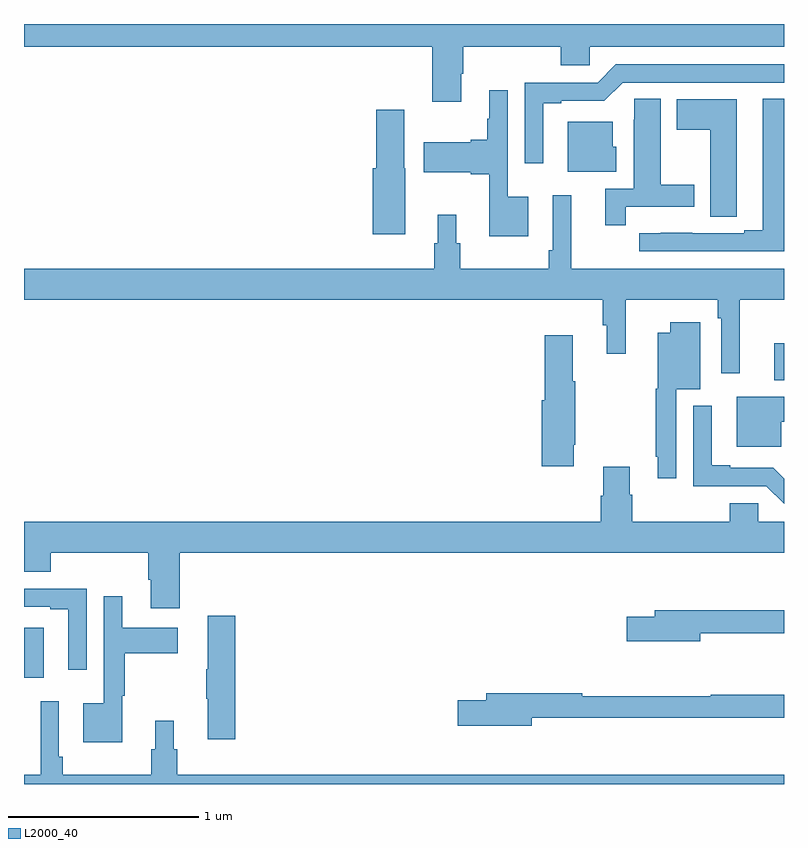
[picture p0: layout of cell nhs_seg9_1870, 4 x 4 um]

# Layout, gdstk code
import gdstk
lib = gdstk.Library(unit=1e-6, precision=1e-09)
def R(c, l, rs):  # rectangles x0, y0, x1, y1
    for r in rs: c.add(gdstk.rectangle(r[:2], r[2:], *l))
def P(c, l, *ps):  # polygons
    for p in ps: c.add(gdstk.Polygon(p, *l))
L2000_40 = (2000, 40)

nhs_seg9_1870 = lib.new_cell('nhs_seg9_1870')
R(nhs_seg9_1870, L2000_40, [(215,1233.059,215.104,1233.322), (218.948,1234.626,219,1234.819)])
P(nhs_seg9_1870, L2000_40, [(217.3,1236.238),(217.313,1236.238),(217.313,1236.38),(217.826,1236.38),(217.826,1236.282),(217.977,1236.282),(217.977,1236.38),(219,1236.38),(219,1236.5),(215,1236.5),(215,1236.38),(217.148,1236.38),(217.148,1236.09),(217.3,1236.09)],
  [(217.732,1236.084),(217.828,1236.084),(217.828,1236.096),(218.055,1236.096),(218.151,1236.192),(219,1236.192),(219,1236.288),(218.115,1236.288),(218.019,1236.192),(217.635,1236.192),(217.635,1235.766),(217.732,1235.766)],
  [(217.654,1235.59),(217.545,1235.59),(217.545,1236.151),(217.448,1236.151),(217.448,1236.002),(217.437,1236.002),(217.437,1235.891),(217.352,1235.891),(217.352,1235.878),(217.104,1235.878),(217.104,1235.72),(217.352,1235.72),(217.352,1235.708),(217.448,1235.708),(217.448,1235.384),(217.654,1235.384)],
  [(218.168,1235.538),(218.527,1235.538),(218.527,1235.655),(218.35,1235.655),(218.35,1236.107),(218.211,1236.107),(218.211,1235.996),(218.21,1235.996),(218.21,1235.634),(218.06,1235.634),(218.06,1235.442),(218.168,1235.442)],
  [(219,1236.107),(218.888,1236.107),(218.888,1235.415),(218.792,1235.415),(218.792,1235.4),(218.516,1235.4),(218.516,1235.401),(218.35,1235.401),(218.35,1235.4),(218.238,1235.4),(218.238,1235.304),(219,1235.304)],
  [(218.751,1235.593),(218.752,1235.593),(218.752,1236.103),(218.435,1236.103),(218.435,1235.944),(218.612,1235.944),(218.612,1235.485),(218.751,1235.485)],
  [(217.006,1235.742),(217,1235.742),(217,1236.049),(216.854,1236.049),(216.854,1235.742),(216.836,1235.742),(216.836,1235.394),(217.006,1235.394)],
  [(218.116,1235.853),(218.098,1235.853),(218.098,1235.986),(217.862,1235.986),(217.862,1235.723),(218.116,1235.723)],
  [(218.768,1235.048),(219,1235.048),(219,1235.212),(217.88,1235.212),(217.88,1235.599),(217.782,1235.599),(217.782,1235.308),(217.762,1235.308),(217.762,1235.212),(217.295,1235.212),(217.295,1235.346),(217.276,1235.346),(217.276,1235.497),(217.178,1235.497),(217.178,1235.346),(217.159,1235.346),(217.159,1235.212),(215,1235.212),(215,1235.048),(218.047,1235.048),(218.047,1234.914),(218.066,1234.914),(218.066,1234.764),(218.166,1234.764),(218.166,1235.048),(218.65,1235.048),(218.65,1234.952),(218.67,1234.952),(218.67,1234.662),(218.768,1234.662)],
  [(218.433,1234.577),(218.56,1234.577),(218.56,1234.93),(218.402,1234.93),(218.402,1234.876),(218.336,1234.876),(218.336,1234.581),(218.325,1234.581),(218.325,1234.222),(218.336,1234.222),(218.336,1234.11),(218.433,1234.11)],
  [(217.894,1234.285),(217.902,1234.285),(217.902,1234.621),(217.888,1234.621),(217.888,1234.861),(217.742,1234.861),(217.742,1234.521),(217.724,1234.521),(217.724,1234.173),(217.894,1234.173)],
  [(218.986,1234.407),(219,1234.407),(219,1234.537),(218.75,1234.537),(218.75,1234.274),(218.986,1234.274)],
  [(219,1234.107),(218.943,1234.164),(218.716,1234.164),(218.716,1234.177),(218.62,1234.177),(218.62,1234.492),(218.523,1234.492),(218.523,1234.068),(218.907,1234.068),(219,1233.975)],
  [(215.819,1233.716),(219,1233.716),(219,1233.88),(218.865,1233.88),(218.865,1233.978),(218.714,1233.978),(218.714,1233.88),(218.201,1233.88),(218.201,1234.022),(218.188,1234.022),(218.188,1234.171),(218.048,1234.171),(218.048,1234.017),(218.036,1234.017),(218.036,1233.88),(215,1233.88),(215,1233.618),(215.141,1233.618),(215.141,1233.716),(215.654,1233.716),(215.654,1233.574),(215.666,1233.574),(215.666,1233.426),(215.819,1233.426)],
  [(215.331,1233.528),(215,1233.528),(215,1233.432),(215.138,1233.432),(215.138,1233.42),(215.234,1233.42),(215.234,1233.102),(215.331,1233.102)],
  [(215.518,1232.964),(215.53,1232.964),(215.53,1233.188),(215.809,1233.188),(215.809,1233.322),(215.518,1233.322),(215.518,1233.487),(215.421,1233.487),(215.421,1232.926),(215.312,1232.926),(215.312,1232.72),(215.518,1232.72)],
  [(218.56,1233.294),(219,1233.294),(219,1233.415),(218.321,1233.415),(218.321,1233.381),(218.172,1233.381),(218.172,1233.251),(218.56,1233.251)],
  [(216.113,1233.385),(215.966,1233.385),(215.966,1233.104),(215.959,1233.104),(215.959,1232.948),(215.966,1232.948),(215.966,1232.736),(216.113,1232.736)],
  [(217.672,1232.85),(219,1232.85),(219,1232.971),(218.614,1232.971),(218.614,1232.963),(217.937,1232.963),(217.937,1232.978),(217.433,1232.978),(217.433,1232.942),(217.284,1232.942),(217.284,1232.807),(217.672,1232.807)],
  [(219,1232.548),(215.807,1232.548),(215.807,1232.682),(215.788,1232.682),(215.788,1232.833),(215.69,1232.833),(215.69,1232.682),(215.671,1232.682),(215.671,1232.548),(215.204,1232.548),(215.204,1232.644),(215.184,1232.644),(215.184,1232.935),(215.087,1232.935),(215.087,1232.548),(215,1232.548),(215,1232.5),(219,1232.5)])

lib.write_gds('nhs_seg9_1870.gds')
